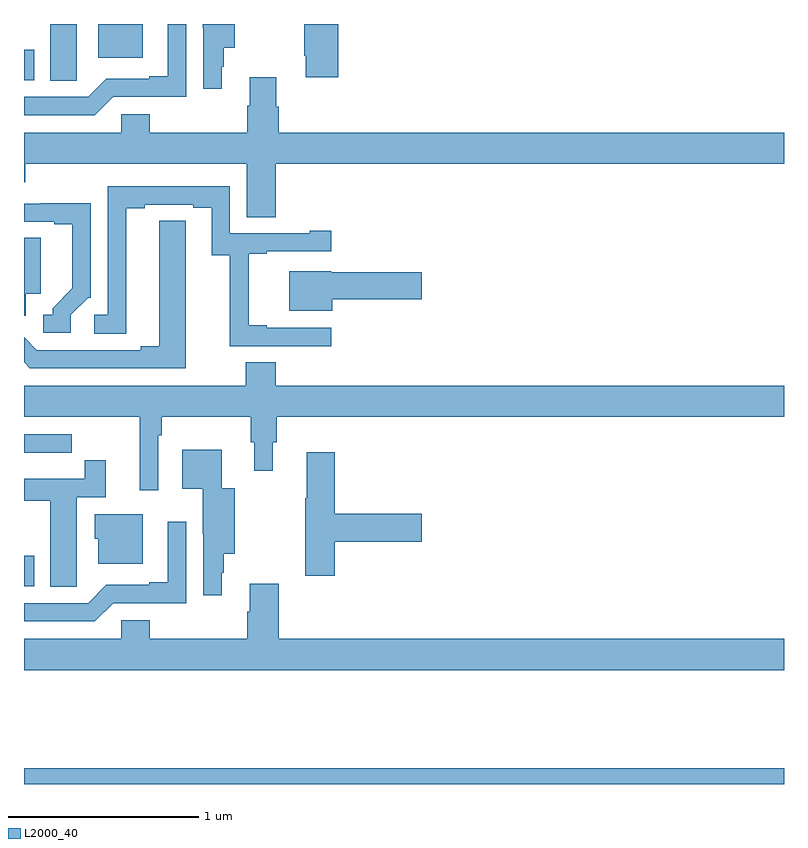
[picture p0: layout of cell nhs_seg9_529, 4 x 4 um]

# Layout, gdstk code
import gdstk
lib = gdstk.Library(unit=1e-6, precision=1e-09)
def R(c, l, rs):  # rectangles x0, y0, x1, y1
    for r in rs: c.add(gdstk.rectangle(r[:2], r[2:], *l))
def P(c, l, *ps):  # polygons
    for p in ps: c.add(gdstk.Polygon(p, *l))
L2000_40 = (2000, 40)

nhs_seg9_529 = lib.new_cell('nhs_seg9_529')
R(nhs_seg9_529, L2000_40, [(137,1182.5,141,1182.584), (137,1183.541,137.053,1183.701), (137,1186.205,137.053,1186.365), (137.39,1186.322,137.626,1186.5)])
P(nhs_seg9_529, L2000_40, [(137.277,1186.312),(137.278,1186.312),(137.278,1186.5),(137.138,1186.5),(137.138,1186.201),(137.277,1186.201)],
  [(137.469,1186.116),(137.853,1186.116),(137.853,1186.5),(137.756,1186.5),(137.756,1186.225),(137.66,1186.225),(137.66,1186.212),(137.433,1186.212),(137.337,1186.116),(137,1186.116),(137,1186.02),(137.373,1186.02)],
  [(138.04,1186.275),(138.052,1186.275),(138.052,1186.376),(138.108,1186.376),(138.108,1186.5),(137.942,1186.5),(137.942,1186.48),(137.943,1186.48),(137.943,1186.158),(138.04,1186.158)],
  [(138.653,1186.5),(138.475,1186.5),(138.475,1186.333),(138.482,1186.333),(138.482,1186.221),(138.653,1186.221)],
  [(138.326,1185.764),(141,1185.764),(141,1185.928),(138.341,1185.928),(138.341,1186.065),(138.328,1186.065),(138.328,1186.219),(138.188,1186.219),(138.188,1186.07),(138.176,1186.07),(138.176,1185.928),(137.663,1185.928),(137.663,1186.026),(137.511,1186.026),(137.511,1185.928),(137,1185.928),(137,1185.666),(137.006,1185.666),(137.006,1185.764),(138.173,1185.764),(138.173,1185.484),(138.326,1185.484)],
  [(138.616,1184.901),(138.277,1184.901),(138.277,1184.914),(138.182,1184.914),(138.182,1185.291),(138.277,1185.291),(138.277,1185.303),(138.616,1185.303),(138.616,1185.412),(138.503,1185.412),(138.503,1185.399),(138.084,1185.399),(138.084,1185.645),(137.442,1185.645),(137.442,1184.97),(137.37,1184.97),(137.37,1184.869),(137.539,1184.869),(137.539,1185.529),(137.635,1185.529),(137.635,1185.549),(137.891,1185.549),(137.891,1185.534),(137.987,1185.534),(137.987,1185.283),(138.082,1185.283),(138.082,1184.805),(138.616,1184.805)],
  [(137.247,1184.97),(137.337,1185.06),(137.352,1185.06),(137.352,1185.557),(137.089,1185.557),(137.089,1185.555),(137,1185.555),(137,1185.459),(137.159,1185.459),(137.159,1185.447),(137.255,1185.447),(137.255,1185.11),(137.15,1185.005),(137.15,1184.97),(137.1,1184.97),(137.1,1184.874),(137.247,1184.874)],
  [(137.851,1185.356),(137.85,1185.356),(137.85,1185.464),(137.711,1185.464),(137.711,1184.804),(137.615,1184.804),(137.615,1184.784),(137.067,1184.784),(137,1184.851),(137,1184.719),(137.031,1184.688),(137.851,1184.688)],
  [(137.008,1185.08),(137.089,1185.08),(137.089,1185.374),(137,1185.374),(137,1184.965),(137.008,1184.965)],
  [(138.622,1185.052),(139.093,1185.052),(139.093,1185.194),(138.618,1185.194),(138.618,1185.199),(138.395,1185.199),(138.395,1184.99),(138.622,1184.99)],
  [(137.706,1184.336),(137.726,1184.336),(137.726,1184.432),(138.193,1184.432),(138.193,1184.298),(138.212,1184.298),(138.212,1184.148),(138.31,1184.148),(138.31,1184.298),(138.329,1184.298),(138.329,1184.432),(141,1184.432),(141,1184.596),(138.326,1184.596),(138.326,1184.72),(138.166,1184.72),(138.166,1184.596),(137,1184.596),(137,1184.432),(137.609,1184.432),(137.609,1184.046),(137.706,1184.046)],
  [(137.138,1184.244),(137.251,1184.244),(137.251,1184.34),(137,1184.34),(137,1184.243),(137.138,1184.243)],
  [(138.04,1183.611),(138.052,1183.611),(138.052,1183.712),(138.108,1183.712),(138.108,1184.056),(138.04,1184.056),(138.04,1184.26),(137.834,1184.26),(137.834,1184.054),(137.942,1184.054),(137.942,1183.816),(137.943,1183.816),(137.943,1183.494),(138.04,1183.494)],
  [(138.635,1183.775),(139.093,1183.775),(139.093,1183.922),(138.635,1183.922),(138.635,1184.245),(138.488,1184.245),(138.488,1184.005),(138.481,1184.005),(138.481,1183.596),(138.635,1183.596)],
  [(137.277,1183.648),(137.278,1183.648),(137.278,1184.01),(137.429,1184.01),(137.429,1184.203),(137.32,1184.203),(137.32,1184.106),(137,1184.106),(137,1183.99),(137.138,1183.99),(137.138,1183.537),(137.277,1183.537)],
  [(137.626,1183.921),(137.372,1183.921),(137.372,1183.791),(137.39,1183.791),(137.39,1183.658),(137.626,1183.658)],
  [(137.469,1183.452),(137.853,1183.452),(137.853,1183.879),(137.756,1183.879),(137.756,1183.561),(137.66,1183.561),(137.66,1183.548),(137.433,1183.548),(137.337,1183.452),(137,1183.452),(137,1183.356),(137.373,1183.356)],
  [(141,1183.264),(138.341,1183.264),(138.341,1183.555),(138.188,1183.555),(138.188,1183.406),(138.176,1183.406),(138.176,1183.264),(137.663,1183.264),(137.663,1183.362),(137.511,1183.362),(137.511,1183.264),(137,1183.264),(137,1183.1),(141,1183.1)])

lib.write_gds('nhs_seg9_529.gds')
